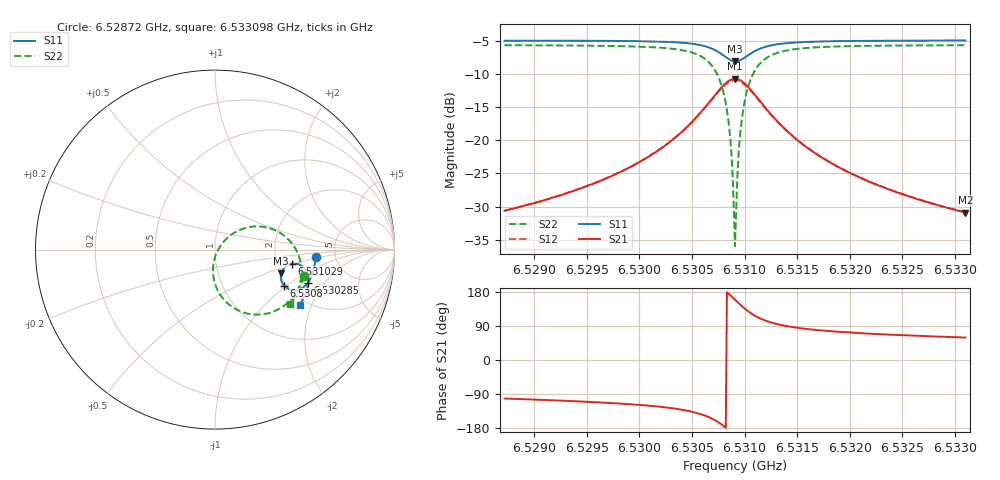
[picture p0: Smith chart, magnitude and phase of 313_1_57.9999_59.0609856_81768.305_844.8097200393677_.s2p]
#  HZ  S  RI  R  50.00
! Rohde & Schwarz Vector Network Analyzer
! Rohde-Schwarz,ZNB20-2Port,1311601062101988,3.16
! Created: UTC 3/21/2024, 1:04:16 AM
! freq[Hz]  re:S11  im:S11  re:S21  im:S21  re:S12  im:S12  re:S22  im:S22
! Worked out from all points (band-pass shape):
!   401 points, 6.52872 GHz to 6.533098 GHz, reference 50 ohm
!   highest |S21| = -10.75 dB at 6.530909 GHz (marker M1); lowest = -30.9 dB at 6.533098 GHz (marker M2)
!   |S21| within 3 dB of the highest: 6.530691 GHz to 6.531128 GHz (437.4 kHz wide, 0.0067 % of centre)
!   lowest |S11| = -8.1 dB at 6.530909 GHz (marker M3), VSWR 2.29, Z = 102 - j31.6 ohm
!   |S11| at or under -10 dB: nowhere
!   |S22| runs from -35.9 to -5.7 dB; largest |S21 - S12| = 0.011
!   S11 on the Smith chart (normalised r, x): 6.52872 GHz: 3.50, -0.44; 6.530285 GHz: 2.61, -1.39; 6.5308 GHz: 1.94, -0.96; 6.531029 GHz: 2.43, -0.47; 6.533098 GHz: 1.84, -1.65
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6.5287201e9  0.56 -0.043  -0.00593 -0.0288  -0.00652 -0.0288  0.4973 -0.1482
6.5294533e9  0.5512 -0.1034  -0.0146 -0.0412  -0.0156 -0.0409  0.4691 -0.2147
6.5301866e9  0.5245 -0.1744  -0.0461 -0.0709  -0.0481 -0.0698  0.3921 -0.3071
6.5302851e9  0.5167 -0.1859  -0.0571 -0.0777  -0.0592 -0.0763  0.3692 -0.3236
6.5306353e9  0.4538 -0.2255  -0.1537 -0.0962  -0.1558 -0.0902  0.1858 -0.3575
6.5307338e9  0.4147 -0.2211  -0.2143 -0.0728  -0.2139 -0.064  0.0825 -0.3096
6.5307995e9  0.3857 -0.2012  -0.2575 -0.0285  -0.2535 -0.019  0.0154 -0.2278
6.5308542e9  0.3687 -0.17  -0.2793 0.0321  -0.2715 0.0397  -0.0114 -0.1237
6.5308761e9  0.3665 -0.1546  -0.2801 0.0604  -0.2711 0.0668  -0.0081 -0.0766
6.5308871e9  0.3666 -0.1467  -0.2785 0.075  -0.2692 0.0804  -0.00309 -0.0531
6.530898e9  0.3675 -0.1388  -0.2754 0.0895  -0.2657 0.094  0.00434 -0.0299
6.5309089e9  0.3693 -0.131  -0.271 0.1036  -0.261 0.1072  0.014 -0.00757
6.5309199e9  0.372 -0.1233  -0.265 0.1172  -0.2551 0.1198  0.026 0.0138
6.5309308e9  0.3755 -0.1161  -0.2578 0.1299  -0.2479 0.1319  0.0398 0.0338
6.5309527e9  0.3845 -0.1031  -0.24 0.1529  -0.2307 0.1532  0.0725 0.0686
6.5309746e9  0.3956 -0.0926  -0.2189 0.1714  -0.2104 0.1704  0.1101 0.0955
6.5310293e9  0.4273 -0.0789  -0.1617 0.1966  -0.1558 0.194  0.2091 0.1281
6.5311059e9  0.4661 -0.082  -0.0935 0.1949  -0.0906 0.1922  0.3237 0.1125
6.5312154e9  0.4989 -0.1046  -0.0361 0.165  -0.0346 0.1635  0.4171 0.0484
6.5316422e9  0.5209 -0.1803  0.0139 0.0817  0.0149 0.0814  0.4817 -0.1285
6.5323755e9  0.5011 -0.2529  0.0166 0.0391  0.0172 0.0389  0.4542 -0.2436
6.5330978e9  0.4735 -0.306  0.0146 0.0245  0.0152 0.0243  0.4192 -0.3056
